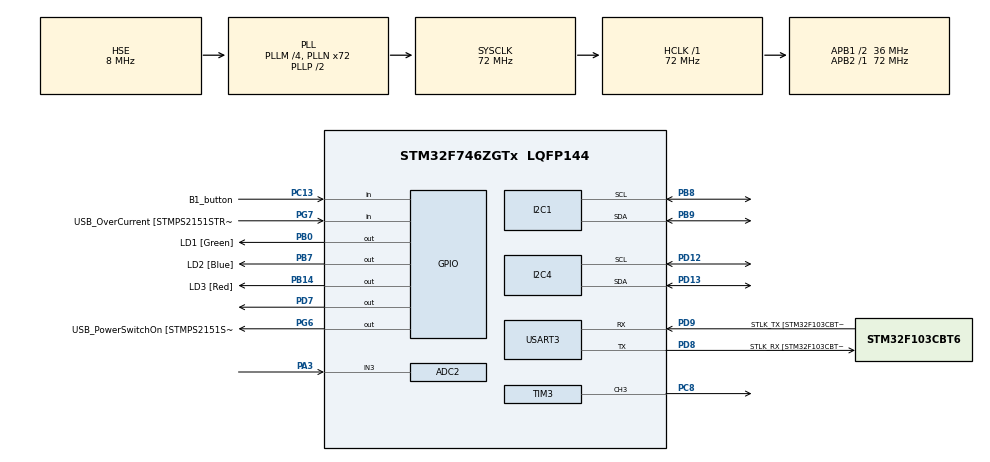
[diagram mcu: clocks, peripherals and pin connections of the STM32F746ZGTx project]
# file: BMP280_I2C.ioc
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ADC2.Channel-0\#ChannelRegularConversion=ADC_CHANNEL_3
ADC2.ContinuousConvMode=DISABLE
ADC2.NbrOfConversionFlag=1
ADC2.Rank-0\#ChannelRegularConversion=1
ADC2.SamplingTime-0\#ChannelRegularConversion=ADC_SAMPLETIME_3CYCLES
I2C1.Timing=0x00808CD2
I2C4.Timing=0x00808CD2
Mcu.Family=STM32F7
Mcu.Name=STM32F746ZGTx
Mcu.Package=LQFP144
NVIC.PriorityGroup=NVIC_PRIORITYGROUP_4
PA1.GPIO_Label=RMII_REF_CLK [LAN8742A-CZ-TR_REFCLK0]
PA1.Signal=ETH_REF_CLK
PA10.GPIO_Label=USB_ID
PA10.Signal=USB_OTG_FS_ID
PA11.GPIO_Label=USB_DM
PA11.Signal=USB_OTG_FS_DM
PA12.GPIO_Label=USB_DP
PA12.Signal=USB_OTG_FS_DP
PA13.GPIO_Label=TMS
PA13.Mode=Serial_Wire
PA13.Signal=SYS_JTMS-SWDIO
PA14.GPIO_Label=TCK
PA14.Mode=Serial_Wire
PA14.Signal=SYS_JTCK-SWCLK
PA2.GPIO_Label=RMII_MDIO [LAN8742A-CZ-TR_MDIO]
PA2.Signal=ETH_MDIO
PA3.Signal=ADCx_IN3
PA7.GPIO_Label=RMII_CRS_DV [LAN8742A-CZ-TR_CRS_DV]
PA7.Signal=ETH_CRS_DV
PA8.GPIO_Label=USB_SOF [TP1]
PA8.Signal=USB_OTG_FS_SOF
PA9.GPIO_Label=USB_VBUS
PA9.Signal=USB_OTG_FS_VBUS
PB0.GPIO_Label=LD1 [Green]
PB0.Signal=GPIO_Output
PB13.GPIO_Label=RMII_TXD1 [LAN8742A-CZ-TR_TXD1]
PB13.Signal=ETH_TXD1
PB14.GPIO_Label=LD3 [Red]
PB14.Signal=GPIO_Output
PB3.GPIO_Label=SW0
PB3.Signal=SYS_JTDO-SWO
PB7.GPIO_Label=LD2 [Blue]
PB7.Signal=GPIO_Output
PB8.Mode=I2C
PB8.Signal=I2C1_SCL
PB9.Mode=I2C
PB9.Signal=I2C1_SDA
PC1.GPIO_Label=RMII_MDC [LAN8742A-CZ-TR_MDC]
PC1.Signal=ETH_MDC
PC13.GPIO_Label=B1_button
PC13.Signal=GPIO_Input
PC14/OSC32_IN.Mode=LSE-External-Oscillator
PC14/OSC32_IN.Signal=RCC_OSC32_IN
PC15/OSC32_OUT.Mode=LSE-External-Oscillator
PC15/OSC32_OUT.Signal=RCC_OSC32_OUT
PC4.GPIO_Label=RMII_RXD0 [LAN8742A-CZ-TR_RXD0]
PC4.Signal=ETH_RXD0
PC5.GPIO_Label=RMII_RXD1 [LAN8742A-CZ-TR_RXD1]
PC5.Signal=ETH_RXD1
PC8.Signal=S_TIM3_CH3
PD12.Mode=I2C
PD12.Signal=I2C4_SCL
PD13.Mode=I2C
PD13.Signal=I2C4_SDA
PD7.Signal=GPIO_Output
PD8.GPIO_Label=STLK_RX [STM32F103CBT6_PA3]
PD8.Mode=Asynchronous
PD8.Signal=USART3_TX
PD9.GPIO_Label=STLK_TX [STM32F103CBT6_PA2]
PD9.Mode=Asynchronous
PD9.Signal=USART3_RX
PG11.GPIO_Label=RMII_TX_EN [LAN8742A-CZ-TR_TXEN]
PG11.Signal=ETH_TX_EN
PG13.GPIO_Label=RMII_TXD0 [LAN8742A-CZ-TR_TXD0]
PG13.Signal=ETH_TXD0
PG6.GPIO_Label=USB_PowerSwitchOn [STMPS2151STR_EN]
PG6.Signal=GPIO_Output
PG7.GPIO_Label=USB_OverCurrent [STMPS2151STR_FAULT]
PG7.Signal=GPIO_Input
PH0/OSC_IN.GPIO_Label=MCO [STM32F103CBT6_PA8]
PH0/OSC_IN.Mode=HSE-External-Clock-Source
PH0/OSC_IN.Signal=RCC_OSC_IN
PH1/OSC_OUT.Mode=HSE-External-Clock-Source
PH1/OSC_OUT.Signal=RCC_OSC_OUT
ProjectManager.HeapSize=0x200
ProjectManager.StackSize=0x400
ProjectManager.TargetToolchain=STM32CubeIDE
RCC.48MHZClocksFreq_Value=24000000
RCC.AHBFreq_Value=72000000
RCC.APB1CLKDivider=RCC_HCLK_DIV2
RCC.APB1Freq_Value=36000000
RCC.APB1TimFreq_Value=72000000
RCC.APB2Freq_Value=72000000
RCC.APB2TimFreq_Value=72000000
RCC.CortexFreq_Value=72000000
RCC.HCLKFreq_Value=72000000
RCC.HSE_VALUE=8000000
RCC.HSI_VALUE=16000000
RCC.PLLM=4
RCC.PLLMUL=RCC_PLL_MUL9
RCC.PLLN=72
RCC.PLLQ=3
RCC.PLLSourceVirtual=RCC_PLLSOURCE_HSE
RCC.PRESCALERUSB=RCC_USBCLKSOURCE_PLL_DIV1_5
RCC.SYSCLKFreq_VALUE=72000000
RCC.SYSCLKSource=RCC_SYSCLKSOURCE_PLLCLK
RCC.SYSCLKSourceVirtual=RCC_SYSCLKSOURCE_PLLCLK
RCC.USBFreq_Value=48000000
RCC.VCOOutputFreq_Value=144000000
SH.ADCx_IN3.0=ADC2_IN3,IN3
SH.S_TIM3_CH3.0=TIM3_CH3,PWM Generation3 CH3
TIM3.Channel-PWM\ Generation3\ CH3=TIM_CHANNEL_3
TIM3.Period=999
TIM3.Prescaler=71
TIM3.Pulse-PWM\ Generation3\ CH3=500
USART3.VirtualMode-Asynchronous=VM_ASYNC
board=NUCLEO-F746ZG

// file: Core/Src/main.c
/* USER CODE BEGIN Header */
/**
  ******************************************************************************
  * @file           : main.c
  * @brief          : Main program body
  ******************************************************************************
  * @attention
  *
  * <h2><center>&copy; Copyright (c) 2021 STMicroelectronics.
  * All rights reserved.</center></h2>
  *
  * This software component is licensed by ST under BSD 3-Clause license,
  * the "License"; You may not use this file except in compliance with the
  * License. You may obtain a copy of the License at:
  *                        opensource.org/licenses/BSD-3-Clause
  *
  ******************************************************************************
  */
/* USER CODE END Header */
#include "main.h"

/* USER CODE BEGIN Includes */
#include "BMPXX80.h"
#include "i2c-lcd.h"

#include <stdio.h>
#include <string.h>
#include <stdint.h>

/* USER CODE END Includes */

/* USER CODE BEGIN PTD */
typedef float float32_t;

typedef struct{
	float32_t Kp;
	float32_t Ki;
	float32_t Kd;
	float32_t dt;
}pid_parameters_t;

typedef struct{
	pid_parameters_t p;
	float32_t previous_error, previous_integral;
}pid_t1;

/* USER CODE END PTD */

ADC_HandleTypeDef hadc2;

I2C_HandleTypeDef hi2c1;
I2C_HandleTypeDef hi2c4;

TIM_HandleTypeDef htim3;

UART_HandleTypeDef huart3;

/* USER CODE BEGIN PV */
float temperature;
float set_point;
float Pomiar_potencjometr;
int pressure;
pid_t1 pid1 = {.p.Kp = 8.0, .p.Ki = 0.003, .p.Kd = 0.0, .p.dt = 1.0, .previous_error=0, .previous_integral=0};
/* USER CODE END PV */

void SystemClock_Config(void);
static void MX_GPIO_Init(void);
static void MX_USART3_UART_Init(void);
static void MX_I2C1_Init(void);
static void MX_I2C4_Init(void);
static void MX_TIM3_Init(void);
static void MX_ADC2_Init(void);

/* USER CODE BEGIN 0 */
float32_t calculate_discrete_pid(pid_t1* pid, float32_t setpoint, float32_t measured) {
	float32_t u = 0, P, I, D, error, integral, derivative;

	error = setpoint - measured;

	//proportional part
	P = pid->p.Kp * error;

	//integral part
	integral = pid->previous_integral + (error + pid->previous_error); //numerical integrator without anti-windup
	pid->previous_integral = integral;
	I = pid->p.Ki * integral * (pid->p.dt / 2.0);

	//derivative part
	derivative = (error - pid->previous_error) / pid->p.dt; //numerical derivative without filter
	pid->previous_error = error;
	D = pid->p.Kd * derivative;

	//sum of all parts
	u = P + I + D; //without saturation

	return u;
}
/* USER CODE END 0 */

int main(void)
{
  /* USER CODE BEGIN 1 */
  #define MAX_LENGTH 16
  char text[MAX_LENGTH];
  //uint16_t length;
  /* USER CODE END 1 */

  /* MCU Configuration--------------------------------------------------------*/

  /* Reset of all peripherals, Initializes the Flash interface and the Systick. */
  HAL_Init();

  /* Configure the system clock */
  SystemClock_Config();

  /* Initialize all configured peripherals */
  MX_GPIO_Init();
  MX_USART3_UART_Init();
  MX_I2C1_Init();
  MX_I2C4_Init();
  MX_TIM3_Init();
  MX_ADC2_Init();
  /* USER CODE BEGIN 2 */
  HAL_TIM_PWM_Start(&htim3, TIM_CHANNEL_3);

  BMP280_Init(&hi2c1, BMP280_TEMPERATURE_16BIT, BMP280_STANDARD, BMP280_FORCEDMODE);
  lcd_init ();
  HAL_Delay(100);

  uint8_t button_value = 0;

  /* USER CODE END 2 */

  /* Infinite loop */
  while (1)
  {

    /* USER CODE BEGIN 3 */
	  BMP280_ReadTemperatureAndPressure(&temperature, &pressure);

	  // POTENCJOMETR
	  HAL_ADC_Start(&hadc2);
	  HAL_ADC_PollForConversion(&hadc2, 10);
	  Pomiar_potencjometr = HAL_ADC_GetValue(&hadc2);
	  set_point = Pomiar_potencjometr/500 + 25.0;

	  // PRZYCISK - WYSWIETLACZ
	  button_value = HAL_GPIO_ReadPin(B1_button_GPIO_Port, B1_button_Pin);
	  if (button_value == 1)
	  {
		  // if pressed
		  HAL_GPIO_WritePin(LD1_GPIO_Port, LD1_Pin, SET);
	  	  lcd_clear ();
		  lcd_put_cur(1, 0);
		  sprintf((char*)text, "Pressure %ihPa", pressure/100);
		  lcd_send_string(text);

		  lcd_put_cur(0, 0);
		  lcd_send_string ("Projekt JB i PB");
	  }
	  else
	  {
		  // if not pressed
		  HAL_GPIO_WritePin(LD1_GPIO_Port, LD1_Pin, RESET);
	  	  lcd_clear ();
	  	  lcd_put_cur(0, 0);
	  	  sprintf((char*)text, "Temp.  %.1f  C", temperature);
	  	  lcd_send_string(text);

	  	  lcd_put_cur(1, 0);
	  	  sprintf((char*)text, "T_zad. %.1f  C", set_point);
	  	  lcd_send_string(text);
	  }

	  float feedback_measurment = temperature;

	  float pwm_duty_f = (999.0*calculate_discrete_pid(&pid1, set_point, feedback_measurment));
	  uint16_t pwm_duty = 0;
	  if(pwm_duty_f < 0) pwm_duty=0;
	  else if(pwm_duty_f>999.0) pwm_duty=999;
	  else pwm_duty=(uint16_t)pwm_duty_f;

	  __HAL_TIM_SET_COMPARE(&htim3, TIM_CHANNEL_3, pwm_duty);
	  HAL_Delay(10);
 }
  /* USER CODE END 3 */
}

void SystemClock_Config(void)
{
  RCC_OscInitTypeDef RCC_OscInitStruct = {0};
  RCC_ClkInitTypeDef RCC_ClkInitStruct = {0};

  /** Configure LSE Drive Capability
  */
  HAL_PWR_EnableBkUpAccess();
  /** Configure the main internal regulator output voltage
  */
  __HAL_RCC_PWR_CLK_ENABLE();
  __HAL_PWR_VOLTAGESCALING_CONFIG(PWR_REGULATOR_VOLTAGE_SCALE3);
  /** Initializes the RCC Oscillators according to the specified parameters
  * in the RCC_OscInitTypeDef structure.
  */
  RCC_OscInitStruct.OscillatorType = RCC_OSCILLATORTYPE_HSE;
  RCC_OscInitStruct.HSEState = RCC_HSE_BYPASS;
  RCC_OscInitStruct.PLL.PLLState = RCC_PLL_ON;
  RCC_OscInitStruct.PLL.PLLSource = RCC_PLLSOURCE_HSE;
  RCC_OscInitStruct.PLL.PLLM = 4;
  RCC_OscInitStruct.PLL.PLLN = 72;
  RCC_OscInitStruct.PLL.PLLP = RCC_PLLP_DIV2;
  RCC_OscInitStruct.PLL.PLLQ = 3;
  if (HAL_RCC_OscConfig(&RCC_OscInitStruct) != HAL_OK)
  {
    Error_Handler();
  }
  /** Initializes the CPU, AHB and APB buses clocks
  */
  RCC_ClkInitStruct.ClockType = RCC_CLOCKTYPE_HCLK|RCC_CLOCKTYPE_SYSCLK
                              |RCC_CLOCKTYPE_PCLK1|RCC_CLOCKTYPE_PCLK2;
  RCC_ClkInitStruct.SYSCLKSource = RCC_SYSCLKSOURCE_PLLCLK;
  RCC_ClkInitStruct.AHBCLKDivider = RCC_SYSCLK_DIV1;
  RCC_ClkInitStruct.APB1CLKDivider = RCC_HCLK_DIV2;
  RCC_ClkInitStruct.APB2CLKDivider = RCC_HCLK_DIV1;

  if (HAL_RCC_ClockConfig(&RCC_ClkInitStruct, FLASH_LATENCY_2) != HAL_OK)
  {
    Error_Handler();
  }
}

static void MX_ADC2_Init(void)
{

  ADC_ChannelConfTypeDef sConfig = {0};

  /** Configure the global features of the ADC (Clock, Resolution, Data Alignment and number of conversion)
  */
  hadc2.Instance = ADC2;
  hadc2.Init.ClockPrescaler = ADC_CLOCK_SYNC_PCLK_DIV2;
  hadc2.Init.Resolution = ADC_RESOLUTION_12B;
  hadc2.Init.ScanConvMode = ADC_SCAN_DISABLE;
  hadc2.Init.ContinuousConvMode = DISABLE;
  hadc2.Init.DiscontinuousConvMode = DISABLE;
  hadc2.Init.ExternalTrigConvEdge = ADC_EXTERNALTRIGCONVEDGE_NONE;
  hadc2.Init.ExternalTrigConv = ADC_SOFTWARE_START;
  hadc2.Init.DataAlign = ADC_DATAALIGN_RIGHT;
  hadc2.Init.NbrOfConversion = 1;
  hadc2.Init.DMAContinuousRequests = DISABLE;
  hadc2.Init.EOCSelection = ADC_EOC_SINGLE_CONV;
  if (HAL_ADC_Init(&hadc2) != HAL_OK)
  {
    Error_Handler();
  }
  /** Configure for the selected ADC regular channel its corresponding rank in the sequencer and its sample time.
  */
  sConfig.Channel = ADC_CHANNEL_3;
  sConfig.Rank = ADC_REGULAR_RANK_1;
  sConfig.SamplingTime = ADC_SAMPLETIME_3CYCLES;
  if (HAL_ADC_ConfigChannel(&hadc2, &sConfig) != HAL_OK)
  {
    Error_Handler();
  }

}

static void MX_I2C1_Init(void)
{

  hi2c1.Instance = I2C1;
  hi2c1.Init.Timing = 0x00808CD2;
  hi2c1.Init.OwnAddress1 = 0;
  hi2c1.Init.AddressingMode = I2C_ADDRESSINGMODE_7BIT;
  hi2c1.Init.DualAddressMode = I2C_DUALADDRESS_DISABLE;
  hi2c1.Init.OwnAddress2 = 0;
  hi2c1.Init.OwnAddress2Masks = I2C_OA2_NOMASK;
  hi2c1.Init.GeneralCallMode = I2C_GENERALCALL_DISABLE;
  hi2c1.Init.NoStretchMode = I2C_NOSTRETCH_DISABLE;
  if (HAL_I2C_Init(&hi2c1) != HAL_OK)
  {
    Error_Handler();
  }
  /** Configure Analogue filter
  */
  if (HAL_I2CEx_ConfigAnalogFilter(&hi2c1, I2C_ANALOGFILTER_ENABLE) != HAL_OK)
  {
    Error_Handler();
  }
  /** Configure Digital filter
  */
  if (HAL_I2CEx_ConfigDigitalFilter(&hi2c1, 0) != HAL_OK)
  {
    Error_Handler();
  }

}

static void MX_I2C4_Init(void)
{

  hi2c4.Instance = I2C4;
  hi2c4.Init.Timing = 0x00808CD2;
  hi2c4.Init.OwnAddress1 = 0;
  hi2c4.Init.AddressingMode = I2C_ADDRESSINGMODE_7BIT;
  hi2c4.Init.DualAddressMode = I2C_DUALADDRESS_DISABLE;
  hi2c4.Init.OwnAddress2 = 0;
  hi2c4.Init.OwnAddress2Masks = I2C_OA2_NOMASK;
  hi2c4.Init.GeneralCallMode = I2C_GENERALCALL_DISABLE;
  hi2c4.Init.NoStretchMode = I2C_NOSTRETCH_DISABLE;
  if (HAL_I2C_Init(&hi2c4) != HAL_OK)
  {
    Error_Handler();
  }
  /** Configure Analogue filter
  */
  if (HAL_I2CEx_ConfigAnalogFilter(&hi2c4, I2C_ANALOGFILTER_ENABLE) != HAL_OK)
  {
    Error_Handler();
  }
  /** Configure Digital filter
  */
  if (HAL_I2CEx_ConfigDigitalFilter(&hi2c4, 0) != HAL_OK)
  {
    Error_Handler();
  }

}

static void MX_TIM3_Init(void)
{

  TIM_MasterConfigTypeDef sMasterConfig = {0};
  TIM_OC_InitTypeDef sConfigOC = {0};

  htim3.Instance = TIM3;
  htim3.Init.Prescaler = 71;
  htim3.Init.CounterMode = TIM_COUNTERMODE_UP;
  htim3.Init.Period = 999;
  htim3.Init.ClockDivision = TIM_CLOCKDIVISION_DIV1;
  htim3.Init.AutoReloadPreload = TIM_AUTORELOAD_PRELOAD_DISABLE;
  if (HAL_TIM_PWM_Init(&htim3) != HAL_OK)
  {
    Error_Handler();
  }
  sMasterConfig.MasterOutputTrigger = TIM_TRGO_RESET;
  sMasterConfig.MasterSlaveMode = TIM_MASTERSLAVEMODE_DISABLE;
  if (HAL_TIMEx_MasterConfigSynchronization(&htim3, &sMasterConfig) != HAL_OK)
  {
    Error_Handler();
  }
  sConfigOC.OCMode = TIM_OCMODE_PWM1;
  sConfigOC.Pulse = 500;
  sConfigOC.OCPolarity = TIM_OCPOLARITY_HIGH;
  sConfigOC.OCFastMode = TIM_OCFAST_DISABLE;
  if (HAL_TIM_PWM_ConfigChannel(&htim3, &sConfigOC, TIM_CHANNEL_3) != HAL_OK)
  {
    Error_Handler();
  }
  HAL_TIM_MspPostInit(&htim3);

}

static void MX_USART3_UART_Init(void)
{

  huart3.Instance = USART3;
  huart3.Init.BaudRate = 115200;
  huart3.Init.WordLength = UART_WORDLENGTH_8B;
  huart3.Init.StopBits = UART_STOPBITS_1;
  huart3.Init.Parity = UART_PARITY_NONE;
  huart3.Init.Mode = UART_MODE_TX_RX;
  huart3.Init.HwFlowCtl = UART_HWCONTROL_NONE;
  huart3.Init.OverSampling = UART_OVERSAMPLING_16;
  huart3.Init.OneBitSampling = UART_ONE_BIT_SAMPLE_DISABLE;
  huart3.AdvancedInit.AdvFeatureInit = UART_ADVFEATURE_NO_INIT;
  if (HAL_UART_Init(&huart3) != HAL_OK)
  {
    Error_Handler();
  }

}

static void MX_GPIO_Init(void)
{
  GPIO_InitTypeDef GPIO_InitStruct = {0};

  /* GPIO Ports Clock Enable */
  __HAL_RCC_GPIOC_CLK_ENABLE();
  __HAL_RCC_GPIOH_CLK_ENABLE();
  __HAL_RCC_GPIOA_CLK_ENABLE();
  __HAL_RCC_GPIOB_CLK_ENABLE();
  __HAL_RCC_GPIOD_CLK_ENABLE();
  __HAL_RCC_GPIOG_CLK_ENABLE();

  /*Configure GPIO pin Output Level */
  HAL_GPIO_WritePin(GPIOB, LD1_Pin|LD3_Pin|LD2_Pin, GPIO_PIN_RESET);

  /*Configure GPIO pin Output Level */
  HAL_GPIO_WritePin(USB_PowerSwitchOn_GPIO_Port, USB_PowerSwitchOn_Pin, GPIO_PIN_RESET);

  /*Configure GPIO pin Output Level */
  HAL_GPIO_WritePin(GPIOD, GPIO_PIN_7, GPIO_PIN_RESET);

  /*Configure GPIO pin : B1_button_Pin */
  GPIO_InitStruct.Pin = B1_button_Pin;
  GPIO_InitStruct.Mode = GPIO_MODE_INPUT;
  GPIO_InitStruct.Pull = GPIO_NOPULL;
  HAL_GPIO_Init(B1_button_GPIO_Port, &GPIO_InitStruct);

  /*Configure GPIO pins : RMII_MDC_Pin RMII_RXD0_Pin RMII_RXD1_Pin */
  GPIO_InitStruct.Pin = RMII_MDC_Pin|RMII_RXD0_Pin|RMII_RXD1_Pin;
  GPIO_InitStruct.Mode = GPIO_MODE_AF_PP;
  GPIO_InitStruct.Pull = GPIO_NOPULL;
  GPIO_InitStruct.Speed = GPIO_SPEED_FREQ_VERY_HIGH;
  GPIO_InitStruct.Alternate = GPIO_AF11_ETH;
  HAL_GPIO_Init(GPIOC, &GPIO_InitStruct);

  /*Configure GPIO pins : RMII_REF_CLK_Pin RMII_MDIO_Pin RMII_CRS_DV_Pin */
  GPIO_InitStruct.Pin = RMII_REF_CLK_Pin|RMII_MDIO_Pin|RMII_CRS_DV_Pin;
  GPIO_InitStruct.Mode = GPIO_MODE_AF_PP;
  GPIO_InitStruct.Pull = GPIO_NOPULL;
  GPIO_InitStruct.Speed = GPIO_SPEED_FREQ_VERY_HIGH;
  GPIO_InitStruct.Alternate = GPIO_AF11_ETH;
  HAL_GPIO_Init(GPIOA, &GPIO_InitStruct);

  /*Configure GPIO pins : LD1_Pin LD3_Pin LD2_Pin */
  GPIO_InitStruct.Pin = LD1_Pin|LD3_Pin|LD2_Pin;
  GPIO_InitStruct.Mode = GPIO_MODE_OUTPUT_PP;
  GPIO_InitStruct.Pull = GPIO_NOPULL;
  GPIO_InitStruct.Speed = GPIO_SPEED_FREQ_LOW;
  HAL_GPIO_Init(GPIOB, &GPIO_InitStruct);

  /*Configure GPIO pin : RMII_TXD1_Pin */
  GPIO_InitStruct.Pin = RMII_TXD1_Pin;
  GPIO_InitStruct.Mode = GPIO_MODE_AF_PP;
  GPIO_InitStruct.Pull = GPIO_NOPULL;
  GPIO_InitStruct.Speed = GPIO_SPEED_FREQ_VERY_HIGH;
  GPIO_InitStruct.Alternate = GPIO_AF11_ETH;
  HAL_GPIO_Init(RMII_TXD1_GPIO_Port, &GPIO_InitStruct);

  /*Configure GPIO pin : USB_PowerSwitchOn_Pin */
  GPIO_InitStruct.Pin = USB_PowerSwitchOn_Pin;
  GPIO_InitStruct.Mode = GPIO_MODE_OUTPUT_PP;
  GPIO_InitStruct.Pull = GPIO_NOPULL;
  GPIO_InitStruct.Speed = GPIO_SPEED_FREQ_LOW;
  HAL_GPIO_Init(USB_PowerSwitchOn_GPIO_Port, &GPIO_InitStruct);

  /*Configure GPIO pin : USB_OverCurrent_Pin */
  GPIO_InitStruct.Pin = USB_OverCurrent_Pin;
  GPIO_InitStruct.Mode = GPIO_MODE_INPUT;
  GPIO_InitStruct.Pull = GPIO_NOPULL;
  HAL_GPIO_Init(USB_OverCurrent_GPIO_Port, &GPIO_InitStruct);

  /*Configure GPIO pins : USB_SOF_Pin USB_ID_Pin USB_DM_Pin USB_DP_Pin */
  GPIO_InitStruct.Pin = USB_SOF_Pin|USB_ID_Pin|USB_DM_Pin|USB_DP_Pin;
  GPIO_InitStruct.Mode = GPIO_MODE_AF_PP;
  GPIO_InitStruct.Pull = GPIO_NOPULL;
  GPIO_InitStruct.Speed = GPIO_SPEED_FREQ_VERY_HIGH;
  GPIO_InitStruct.Alternate = GPIO_AF10_OTG_FS;
  HAL_GPIO_Init(GPIOA, &GPIO_InitStruct);

  /*Configure GPIO pin : USB_VBUS_Pin */
  GPIO_InitStruct.Pin = USB_VBUS_Pin;
  GPIO_InitStruct.Mode = GPIO_MODE_INPUT;
  GPIO_InitStruct.Pull = GPIO_NOPULL;
  HAL_GPIO_Init(USB_VBUS_GPIO_Port, &GPIO_InitStruct);

  /*Configure GPIO pin : PD7 */
  GPIO_InitStruct.Pin = GPIO_PIN_7;
  GPIO_InitStruct.Mode = GPIO_MODE_OUTPUT_PP;
  GPIO_InitStruct.Pull = GPIO_NOPULL;
  GPIO_InitStruct.Speed = GPIO_SPEED_FREQ_LOW;
  HAL_GPIO_Init(GPIOD, &GPIO_InitStruct);

  /*Configure GPIO pins : RMII_TX_EN_Pin RMII_TXD0_Pin */
  GPIO_InitStruct.Pin = RMII_TX_EN_Pin|RMII_TXD0_Pin;
  GPIO_InitStruct.Mode = GPIO_MODE_AF_PP;
  GPIO_InitStruct.Pull = GPIO_NOPULL;
  GPIO_InitStruct.Speed = GPIO_SPEED_FREQ_VERY_HIGH;
  GPIO_InitStruct.Alternate = GPIO_AF11_ETH;
  HAL_GPIO_Init(GPIOG, &GPIO_InitStruct);

}

/* USER CODE BEGIN 4 */

//void HAL_TIM_PERIODElapsedCallback(TIM_HandleTypeDef * htim)
//{
//	if(htim->Instance==TIM7)
//	{
//		HAL_GPIO_TogglePin(LD3_GPIO_Port, LD1_Pin);
//		BMP280_ReadTemperatureAndPressure(&temperature, &pressure);
//		float feedback_measurment = temperature;
//
//		float pwm_duty_f = (999.0*calculate_discrete_pid(&pid1, set_point, feedback_measurment));
//		uint16_t pwm_duty = 0;
//		if(pwm_duty_f < 0) pwm_duty=0;
//		else if(pwm_duty_f>999.0) pwm_duty=999;
//		else pwm_duty=(uint16_t)pwm_duty_f;
//
//		__HAL_TIM_SET_COMPARE(&htim3, TIM_CHANNEL_3, pwm_duty);
//	}
//
//}

/* USER CODE END 4 */

void Error_Handler(void)
{
  __disable_irq();
  while (1)
  {
  }
}
